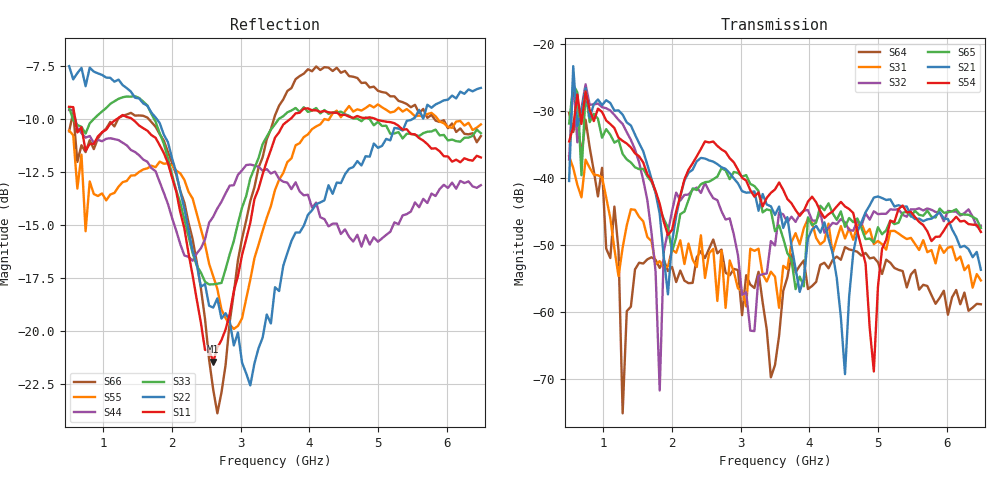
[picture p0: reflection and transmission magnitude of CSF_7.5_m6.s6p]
!Keysight Technologies,M9804A,MY58100912,A.14.10.03
!Date: Thursday, April 27, 2023 10:28:33
!Correction: S11(C  6-Port  )
!S12(C  6-Port  )
!S13(C  6-Port  )
!S14(C  6-Port  )
!S15(C  6-Port  )
!S16(C  6-Port  )
!S21(C  6-Port  )
!S22(C  6-Port  )
!S23(C  6-Port  )
!S24(C  6-Port  )
!S25(C  6-Port  )
!S26(C  6-Port  )
!S31(C  6-Port  )
!S32(C  6-Port  )
!S33(C  6-Port  )
!S34(C  6-Port  )
!S35(C  6-Port  )
!S36(C  6-Port  )
!S41(C  6-Port  )
!S42(C  6-Port  )
!S43(C  6-Port  )
!S44(C  6-Port  )
!S45(C  6-Port  )
!S46(C  6-Port  )
!S51(C  6-Port  )
!S52(C  6-Port  )
!S53(C  6-Port  )
!S54(C  6-Port  )
!S55(C  6-Port  )
!S56(C  6-Port  )
!S61(C  6-Port  )
!S62(C  6-Port  )
!S63(C  6-Port  )
!S64(C  6-Port  )
!S65(C  6-Port  )
!S66(C  6-Port  )
!S6P File: Measurement: :
# Hz S  RI  R 50
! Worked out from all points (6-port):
!   101 points, 500 MHz to 6.5 GHz, reference 50 ohm
!   strongest paths, dB at 500 MHz, 2 GHz, 3.5 GHz, 5 GHz, 6.5 GHz:
!     S54: -34.5, -47.7, -41.7, -56.2, -48.0
!     S21: -40.4, -49.5, -45.5, -42.7, -53.7
!     S65: -31.9, -51.0, -47.9, -47.3, -47.5
!     S32: -37.2, -44.9, -50.1, -45.4, -47.1
!     S31: -36.8, -50.7, -54.7, -49.4, -55.3
!     S64: -30.3, -53.3, -67.9, -52.6, -58.8
!   lowest |S11| = -21.4 dB at 2.6 GHz (marker M1), VSWR 1.19, Z = 42.5 + j2.21 ohm
!   |S11| at or under -10 dB: 589 MHz to 1.189 GHz (600.5 MHz wide, 67.5 % of centre); 1.423 GHz to 3.717 GHz (2.294 GHz wide, 89.3 % of centre); 4.975 GHz to end of sweep
